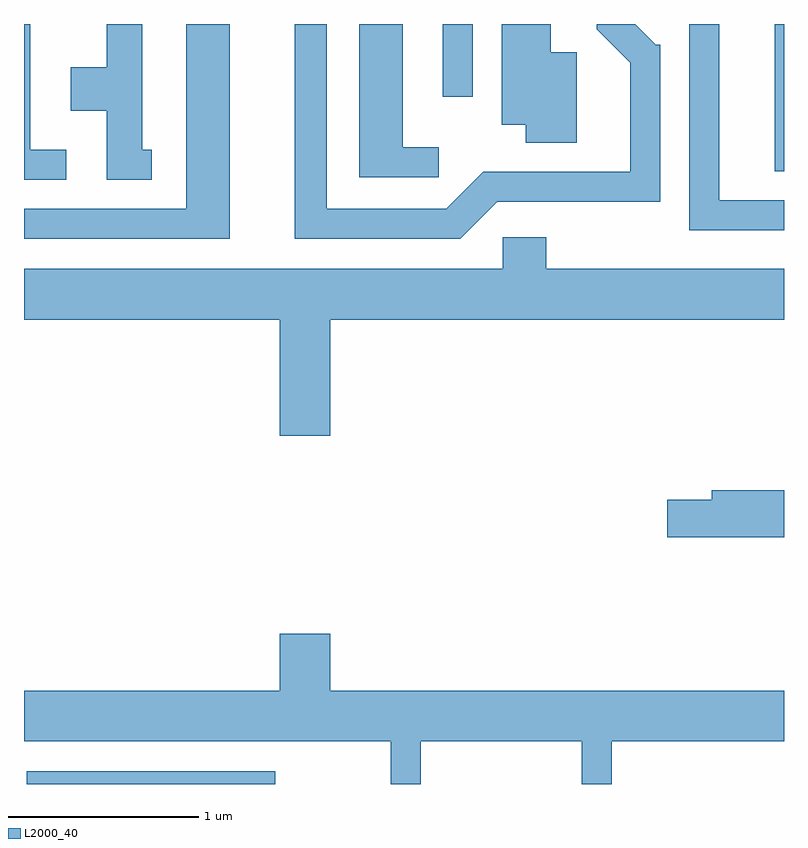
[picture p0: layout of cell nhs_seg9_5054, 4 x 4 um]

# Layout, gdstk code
import gdstk
lib = gdstk.Library(unit=1e-6, precision=1e-09)
def R(c, l, rs):  # rectangles x0, y0, x1, y1
    for r in rs: c.add(gdstk.rectangle(r[:2], r[2:], *l))
def P(c, l, *ps):  # polygons
    for p in ps: c.add(gdstk.Polygon(p, *l))
L2000_40 = (2000, 40)

nhs_seg9_5054 = lib.new_cell('nhs_seg9_5054')
R(nhs_seg9_5054, L2000_40, [(333.626,2040.432,334.933,2040.499), (337.561,2043.656,337.611,2044.432), (335.816,2044.048,335.974,2044.432)])
P(nhs_seg9_5054, L2000_40, [(336.519,2044.284),(336.384,2044.284),(336.384,2044.432),(336.126,2044.432),(336.126,2043.901),(336.251,2043.901),(336.251,2043.806),(336.519,2043.806)],
  [(334.283,2043.769),(334.234,2043.769),(334.234,2044.432),(334.046,2044.432),(334.046,2044.204),(333.856,2044.204),(333.856,2043.976),(334.046,2043.976),(334.046,2043.611),(334.283,2043.611)],
  [(336.102,2043.496),(336.959,2043.496),(336.959,2044.324),(336.937,2044.324),(336.829,2044.432),(336.626,2044.432),(336.626,2044.404),(336.801,2044.229),(336.801,2043.654),(336.029,2043.654),(335.834,2043.459),(335.204,2043.459),(335.204,2044.432),(335.036,2044.432),(335.036,2043.301),(335.907,2043.301)],
  [(334.694,2044.432),(334.466,2044.432),(334.466,2043.459),(333.611,2043.459),(333.611,2043.301),(334.694,2043.301)],
  [(335.793,2043.784),(335.604,2043.784),(335.604,2044.432),(335.376,2044.432),(335.376,2043.626),(335.793,2043.626)],
  [(337.611,2043.504),(337.269,2043.504),(337.269,2044.432),(337.111,2044.432),(337.111,2043.346),(337.611,2043.346)],
  [(333.833,2043.769),(333.644,2043.769),(333.644,2044.432),(333.611,2044.432),(333.611,2043.611),(333.833,2043.611)],
  [(335.224,2042.876),(337.611,2042.876),(337.611,2043.144),(336.359,2043.144),(336.359,2043.309),(336.131,2043.309),(336.131,2043.144),(333.611,2043.144),(333.611,2042.876),(334.956,2042.876),(334.956,2042.266),(335.224,2042.266)],
  [(337.611,2041.979),(337.231,2041.979),(337.231,2041.929),(336.996,2041.929),(336.996,2041.731),(337.611,2041.731)],
  [(335.699,2040.656),(336.546,2040.656),(336.546,2040.432),(336.704,2040.432),(336.704,2040.656),(337.611,2040.656),(337.611,2040.924),(335.224,2040.924),(335.224,2041.224),(334.956,2041.224),(334.956,2040.924),(333.611,2040.924),(333.611,2040.656),(335.541,2040.656),(335.541,2040.432),(335.699,2040.432)])

lib.write_gds('nhs_seg9_5054.gds')
